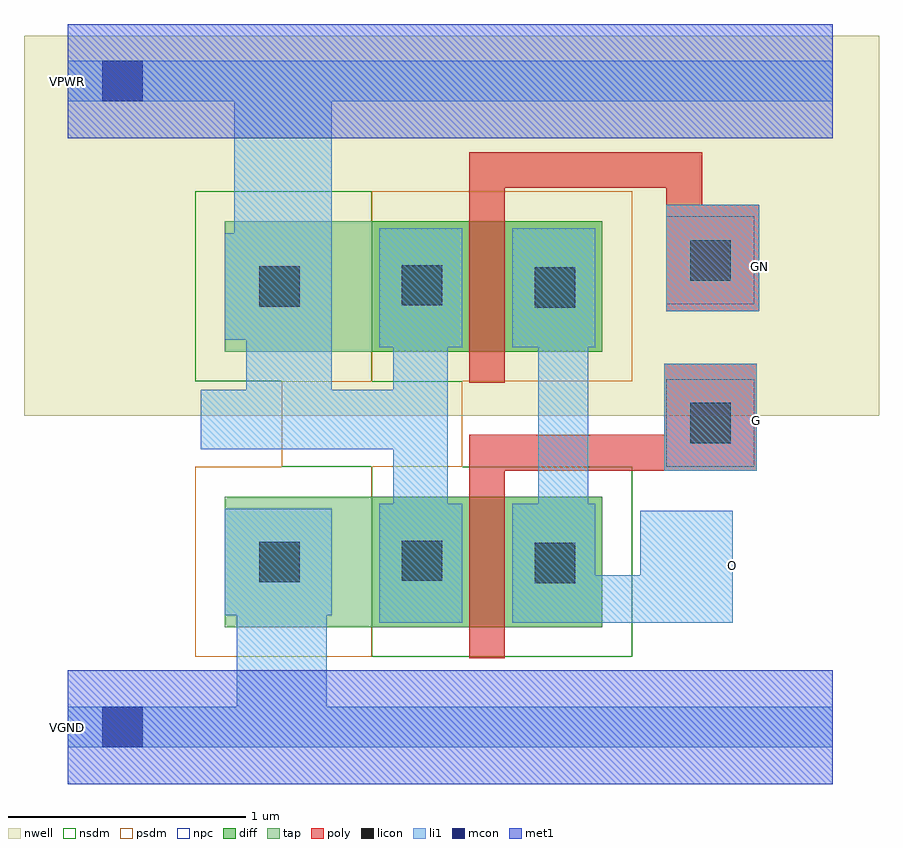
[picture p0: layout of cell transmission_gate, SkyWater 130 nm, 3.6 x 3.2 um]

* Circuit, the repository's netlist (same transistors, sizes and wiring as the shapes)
* NGSPICE file created from transmission_gate.ext - technology: sky130A

.subckt transmission_gate O G VPWR VGND GN
X0 O G VPWR VGND sky130_fd_pr__nfet_01v8 ad=0.226 pd=1.92 as=0.226 ps=1.92 w=0.55 l=0.15
X1 O GN VPWR VPWR sky130_fd_pr__pfet_01v8 ad=0.226 pd=1.92 as=0.226 ps=1.92 w=0.55 l=0.15
.ends

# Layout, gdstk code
import gdstk
lib = gdstk.Library(unit=1e-6, precision=1e-09)
def R(c, l, rs):  # rectangles x0, y0, x1, y1
    for r in rs: c.add(gdstk.rectangle(r[:2], r[2:], *l))
nwell = (64, 20)
diff = (65, 20)
tap = (65, 44)
poly = (66, 20)
licon = (66, 44)
li1 = (67, 20)
mcon = (67, 44)
met1 = (68, 20)
nsdm = (93, 44)
psdm = (94, 20)
npc = (95, 20)

transmission_gate = lib.new_cell('transmission_gate')
R(transmission_gate, nwell, [(-0.185,1.31,3.415,2.91)])
R(transmission_gate, diff, [(1.28,0.42,2.25,0.97), (1.28,1.58,2.25,2.13)])
R(transmission_gate, tap, [(0.66,0.42,1.28,0.97), (0.66,1.58,1.28,2.13)])
R(transmission_gate, poly, [(1.69,0.29,1.84,1.08), (1.69,1.08,2.9,1.23), (2.51,1.23,2.9,1.53), (1.69,1.45,1.84,2.27), (2.52,1.75,2.91,2.2), (2.52,2.2,2.67,2.27), (1.69,2.27,2.67,2.42)])
R(transmission_gate, licon, [(1.965,0.605,2.135,0.775), (0.805,0.61,0.975,0.78), (1.405,0.615,1.575,0.785), (2.62,1.195,2.79,1.365), (1.965,1.765,2.135,1.935), (0.805,1.77,0.975,1.94), (1.405,1.775,1.575,1.945), (2.62,1.88,2.79,2.05)])
R(transmission_gate, li1, [(0,-0.085,3.22,0.085), (0.71,0.085,1.09,0.47), (1.31,0.44,1.66,0.94), (1.87,0.44,2.8,0.64), (0.66,0.47,1.11,0.92), (1.87,0.64,2.22,0.94), (2.41,0.64,2.8,0.91), (1.37,0.94,1.6,1.17), (1.98,0.94,2.19,1.6), (2.51,1.08,2.9,1.53), (0.56,1.17,1.6,1.42), (0.75,1.42,1.11,1.63), (1.37,1.42,1.6,1.6), (1.31,1.6,1.66,2.1), (1.87,1.6,2.22,2.1), (0.66,1.63,1.11,2.08), (2.52,1.75,2.91,2.2), (0.7,2.08,1.11,2.635), (0,2.635,3.22,2.805)])
R(transmission_gate, mcon, [(0.145,-0.085,0.315,0.085), (0.145,2.635,0.315,2.805)])
R(transmission_gate, met1, [(0,-0.24,3.22,0.24), (0,2.48,3.22,2.96)])
R(transmission_gate, nsdm, [(1.28,0.295,2.375,1.095), (0.9,1.095,1.66,1.455), (0.535,1.455,1.28,2.255)])
R(transmission_gate, psdm, [(0.535,0.295,1.28,1.095), (0.9,1.095,1.66,1.455), (1.28,1.455,2.375,2.255)])
R(transmission_gate, npc, [(2.52,1.095,2.89,1.465), (2.52,1.78,2.89,2.15)])
transmission_gate.add(gdstk.Label('GN', (2.91,1.94), layer=67, texttype=5))
transmission_gate.add(gdstk.Label('G', (2.9,1.29), layer=67, texttype=5))
transmission_gate.add(gdstk.Label('O', (2.8,0.68), layer=67, texttype=5))
transmission_gate.add(gdstk.Label('VGND', (0,0), layer=68, texttype=5))
transmission_gate.add(gdstk.Label('VPWR', (0,2.72), layer=68, texttype=5))

lib.write_gds('transmission_gate.gds')
